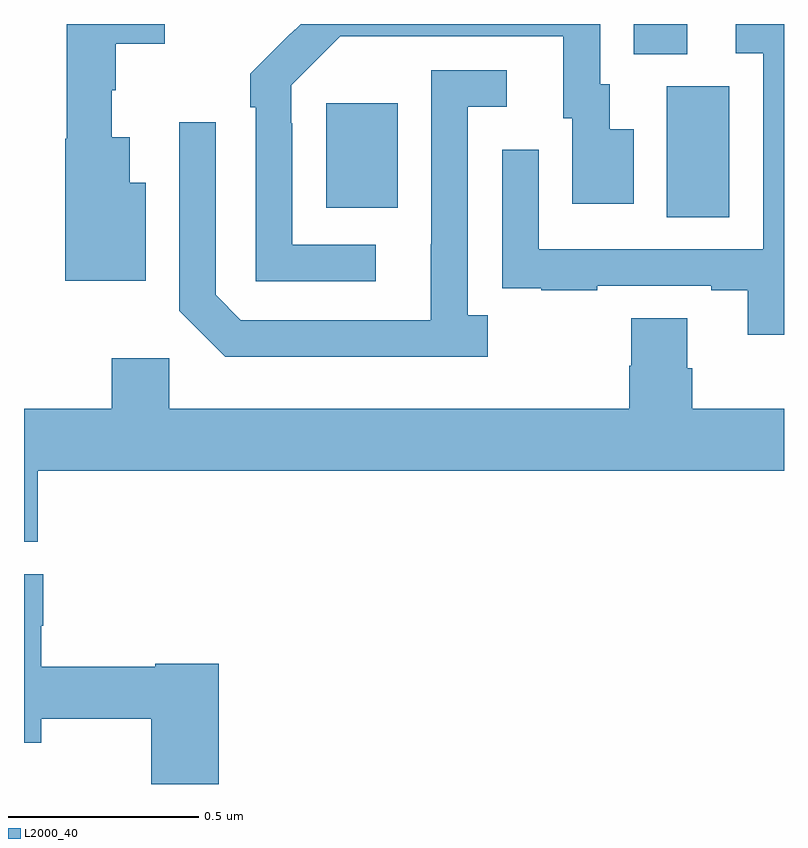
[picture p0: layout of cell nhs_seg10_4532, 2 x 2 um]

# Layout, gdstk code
import gdstk
lib = gdstk.Library(unit=1e-6, precision=1e-09)
def R(c, l, rs):  # rectangles x0, y0, x1, y1
    for r in rs: c.add(gdstk.rectangle(r[:2], r[2:], *l))
def P(c, l, *ps):  # polygons
    for p in ps: c.add(gdstk.Polygon(p, *l))
L2000_40 = (2000, 40)

nhs_seg10_4532 = lib.new_cell('nhs_seg10_4532')
R(nhs_seg10_4532, L2000_40, [(168.692,1292.992,168.856,1293.336), (167.795,1293.017,167.983,1293.292), (168.605,1293.421,168.745,1293.5)])
P(nhs_seg10_4532, L2000_40, [(167.32,1293.082),(167.278,1293.082),(167.278,1293.202),(167.231,1293.202),(167.231,1293.326),(167.242,1293.326),(167.242,1293.448),(167.371,1293.448),(167.371,1293.5),(167.113,1293.5),(167.113,1293.198),(167.108,1293.198),(167.108,1292.825),(167.32,1292.825)],
  [(169,1293.5),(168.873,1293.5),(168.873,1293.423),(168.945,1293.423),(168.945,1292.907),(168.354,1292.907),(168.354,1293.169),(168.258,1293.169),(168.258,1292.914),(168.259,1292.914),(168.259,1292.805),(168.361,1292.805),(168.361,1292.799),(168.509,1292.799),(168.509,1292.811),(168.809,1292.811),(168.809,1292.799),(168.905,1292.799),(168.905,1292.682),(169,1292.682)],
  [(167.926,1292.919),(167.706,1292.919),(167.706,1293.239),(167.703,1293.239),(167.703,1293.339),(167.832,1293.468),(168.419,1293.468),(168.419,1293.252),(168.443,1293.252),(168.443,1293.027),(168.604,1293.027),(168.604,1293.223),(168.541,1293.223),(168.541,1293.342),(168.516,1293.342),(168.516,1293.5),(167.728,1293.5),(167.701,1293.473),(167.7,1293.474),(167.595,1293.369),(167.595,1293.281),(167.61,1293.281),(167.61,1292.823),(167.926,1292.823)],
  [(168.22,1292.734),(168.168,1292.734),(168.168,1293.282),(168.271,1293.282),(168.271,1293.378),(168.072,1293.378),(168.072,1292.921),(168.071,1292.921),(168.071,1292.721),(167.571,1292.721),(167.505,1292.787),(167.505,1293.241),(167.409,1293.241),(167.409,1292.745),(167.53,1292.624),(168.22,1292.624)],
  [(167.036,1292.324),(169,1292.324),(169,1292.488),(168.758,1292.488),(168.758,1292.594),(168.745,1292.594),(168.745,1292.726),(168.598,1292.726),(168.598,1292.601),(168.593,1292.601),(168.593,1292.488),(167.382,1292.488),(167.382,1292.62),(167.231,1292.62),(167.231,1292.488),(167,1292.488),(167,1292.137),(167.036,1292.137)],
  [(167.513,1291.816),(167.346,1291.816),(167.346,1291.808),(167.046,1291.808),(167.046,1291.916),(167.051,1291.916),(167.051,1292.052),(167,1292.052),(167,1291.608),(167.046,1291.608),(167.046,1291.672),(167.335,1291.672),(167.335,1291.5),(167.513,1291.5)])

lib.write_gds('nhs_seg10_4532.gds')
